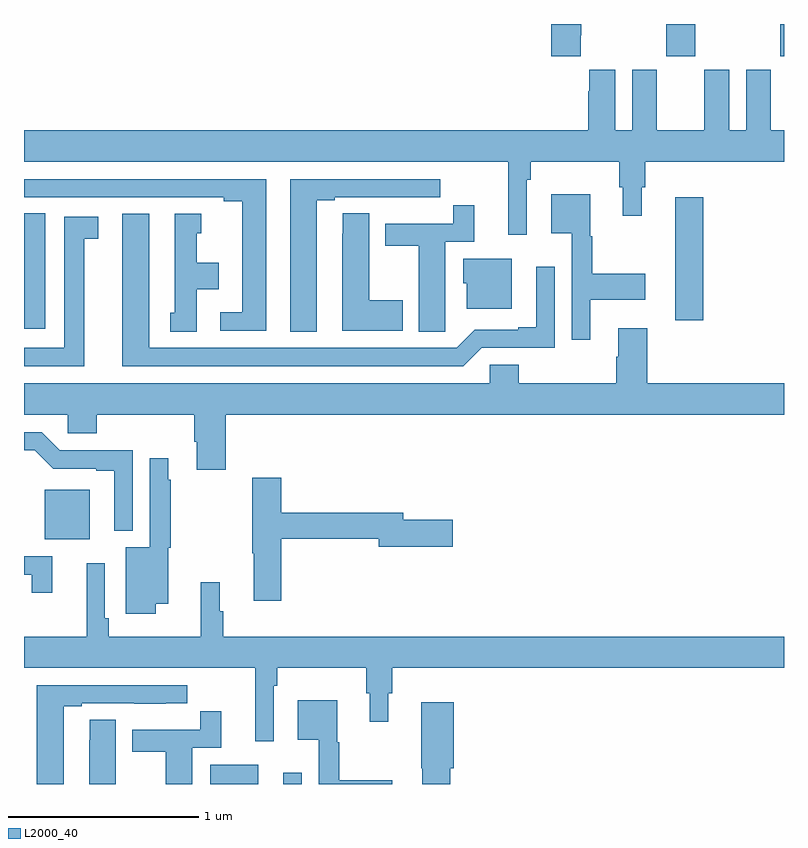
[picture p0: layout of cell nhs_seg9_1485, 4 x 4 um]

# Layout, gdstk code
import gdstk
lib = gdstk.Library(unit=1e-6, precision=1e-09)
def R(c, l, rs):  # rectangles x0, y0, x1, y1
    for r in rs: c.add(gdstk.rectangle(r[:2], r[2:], *l))
def P(c, l, *ps):  # polygons
    for p in ps: c.add(gdstk.Polygon(p, *l))
L2000_40 = (2000, 40)

nhs_seg9_1485 = lib.new_cell('nhs_seg9_1485')
R(nhs_seg9_1485, L2000_40, [(195.98,1170.5,196.234,1170.601), (196.364,1170.5,196.461,1170.559), (195.11,1171.787,195.346,1172.05), (195,1172.895,195.112,1173.503), (198.428,1172.94,198.575,1173.589), (198.379,1174.329,198.534,1174.5), (198.979,1174.329,199,1174.5)])
P(nhs_seg9_1485, L2000_40, [(197.929,1174.441),(197.934,1174.441),(197.934,1174.5),(197.774,1174.5),(197.774,1174.329),(197.929,1174.329)],
  [(197.646,1173.68),(197.666,1173.68),(197.666,1173.776),(198.133,1173.776),(198.133,1173.642),(198.152,1173.642),(198.152,1173.492),(198.25,1173.492),(198.25,1173.642),(198.269,1173.642),(198.269,1173.776),(199,1173.776),(199,1173.94),(198.931,1173.94),(198.931,1174.258),(198.8,1174.258),(198.8,1173.94),(198.712,1173.94),(198.712,1174.258),(198.581,1174.258),(198.581,1173.94),(198.331,1173.94),(198.331,1174.258),(198.2,1174.258),(198.2,1173.94),(198.112,1173.94),(198.112,1174.258),(197.975,1174.258),(197.975,1174.145),(197.969,1174.145),(197.969,1173.94),(195,1173.94),(195,1173.776),(197.549,1173.776),(197.549,1173.39),(197.646,1173.39)],
  [(196.276,1173.684),(195,1173.684),(195,1173.588),(196.052,1173.588),(196.052,1173.568),(196.148,1173.568),(196.148,1172.982),(196.032,1172.982),(196.032,1172.886),(196.276,1172.886)],
  [(196.54,1173.573),(196.636,1173.573),(196.636,1173.588),(196.912,1173.588),(196.912,1173.587),(197.078,1173.587),(197.078,1173.588),(197.191,1173.588),(197.191,1173.684),(196.4,1173.684),(196.4,1172.881),(196.54,1172.881)],
  [(197.98,1173.05),(198.271,1173.05),(198.271,1173.185),(197.992,1173.185),(197.992,1173.384),(197.98,1173.384),(197.98,1173.604),(197.774,1173.604),(197.774,1173.398),(197.883,1173.398),(197.883,1172.838),(197.98,1172.838)],
  [(197.217,1172.992),(197.218,1172.992),(197.218,1173.354),(197.369,1173.354),(197.369,1173.547),(197.26,1173.547),(197.26,1173.45),(196.901,1173.45),(196.901,1173.334),(197.078,1173.334),(197.078,1172.881),(197.217,1172.881)],
  [(196.993,1173.045),(196.816,1173.045),(196.816,1173.503),(196.677,1173.503),(196.677,1173.395),(196.676,1173.395),(196.676,1172.885),(196.993,1172.885)],
  [(195.91,1173.104),(196.024,1173.104),(196.024,1173.244),(195.91,1173.244),(195.91,1173.399),(195.934,1173.399),(195.934,1173.502),(195.794,1173.502),(195.794,1172.979),(195.77,1172.979),(195.77,1172.881),(195.91,1172.881)],
  [(197.409,1172.796),(197.793,1172.796),(197.793,1173.223),(197.696,1173.223),(197.696,1172.905),(197.6,1172.905),(197.6,1172.892),(197.373,1172.892),(197.277,1172.796),(195.658,1172.796),(195.658,1173.502),(195.518,1173.502),(195.518,1172.7),(197.313,1172.7)],
  [(195.316,1173.37),(195.391,1173.37),(195.391,1173.486),(195.212,1173.486),(195.212,1172.796),(195,1172.796),(195,1172.7),(195.316,1172.7)],
  [(197.566,1173.265),(197.312,1173.265),(197.312,1173.135),(197.33,1173.135),(197.33,1173.002),(197.566,1173.002)],
  [(196.061,1172.444),(199,1172.444),(199,1172.608),(198.281,1172.608),(198.281,1172.899),(198.128,1172.899),(198.128,1172.75),(198.116,1172.75),(198.116,1172.608),(197.603,1172.608),(197.603,1172.706),(197.451,1172.706),(197.451,1172.608),(195,1172.608),(195,1172.444),(195.231,1172.444),(195.231,1172.346),(195.383,1172.346),(195.383,1172.444),(195.896,1172.444),(195.896,1172.302),(195.908,1172.302),(195.908,1172.154),(196.061,1172.154)],
  [(195.573,1172.256),(195.189,1172.256),(195.093,1172.352),(195,1172.352),(195,1172.256),(195.057,1172.256),(195.153,1172.16),(195.38,1172.16),(195.38,1172.148),(195.476,1172.148),(195.476,1171.832),(195.573,1171.832)],
  [(195.694,1171.448),(195.76,1171.448),(195.76,1171.743),(195.772,1171.743),(195.772,1172.102),(195.76,1172.102),(195.76,1172.215),(195.663,1172.215),(195.663,1171.747),(195.536,1171.747),(195.536,1171.395),(195.694,1171.395)],
  [(196.355,1171.792),(196.868,1171.792),(196.868,1171.75),(197.257,1171.75),(197.257,1171.892),(196.996,1171.892),(196.996,1171.928),(196.355,1171.928),(196.355,1172.113),(196.201,1172.113),(196.201,1171.715),(196.208,1171.715),(196.208,1171.464),(196.355,1171.464)],
  [(195.149,1171.698),(195,1171.698),(195,1171.602),(195.04,1171.602),(195.04,1171.506),(195.149,1171.506)],
  [(196.314,1171.016),(196.334,1171.016),(196.334,1171.112),(196.801,1171.112),(196.801,1170.978),(196.82,1170.978),(196.82,1170.828),(196.918,1170.828),(196.918,1170.978),(196.937,1170.978),(196.937,1171.112),(199,1171.112),(199,1171.276),(196.049,1171.276),(196.049,1171.41),(196.03,1171.41),(196.03,1171.561),(195.931,1171.561),(195.931,1171.276),(195.446,1171.276),(195.446,1171.372),(195.426,1171.372),(195.426,1171.663),(195.329,1171.663),(195.329,1171.276),(195,1171.276),(195,1171.112),(196.217,1171.112),(196.217,1170.726),(196.314,1170.726)],
  [(195.208,1170.909),(195.304,1170.909),(195.304,1170.924),(195.58,1170.924),(195.58,1170.923),(195.746,1170.923),(195.746,1170.924),(195.859,1170.924),(195.859,1171.02),(195.068,1171.02),(195.068,1170.5),(195.208,1170.5)],
  [(196.939,1170.521),(196.66,1170.521),(196.66,1170.72),(196.648,1170.72),(196.648,1170.94),(196.442,1170.94),(196.442,1170.734),(196.551,1170.734),(196.551,1170.5),(196.939,1170.5)],
  [(197.243,1170.582),(197.261,1170.582),(197.261,1170.931),(197.09,1170.931),(197.09,1170.582),(197.096,1170.582),(197.096,1170.5),(197.243,1170.5)],
  [(195.886,1170.69),(196.037,1170.69),(196.037,1170.883),(195.928,1170.883),(195.928,1170.786),(195.569,1170.786),(195.569,1170.67),(195.746,1170.67),(195.746,1170.5),(195.886,1170.5)],
  [(195.484,1170.839),(195.345,1170.839),(195.345,1170.731),(195.344,1170.731),(195.344,1170.5),(195.484,1170.5)])

lib.write_gds('nhs_seg9_1485.gds')
